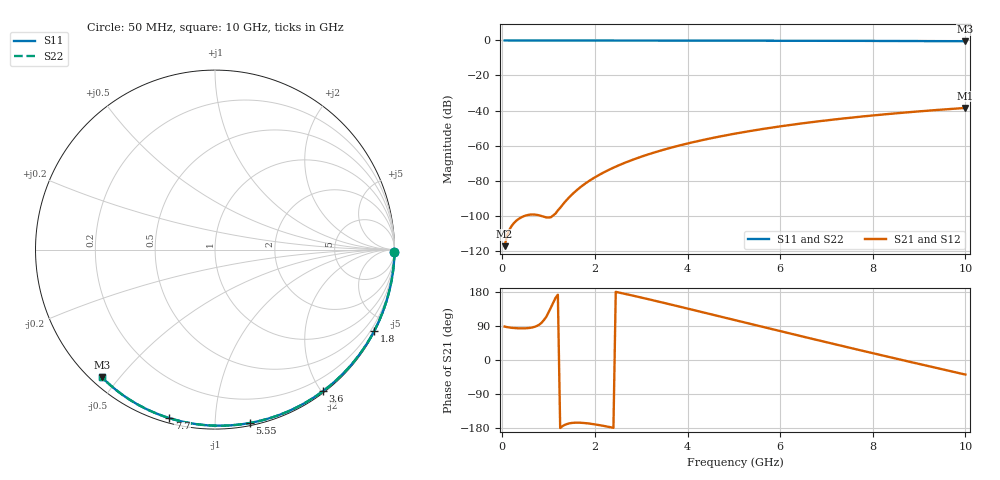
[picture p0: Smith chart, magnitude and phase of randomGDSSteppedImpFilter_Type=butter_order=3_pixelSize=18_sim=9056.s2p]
! freq	dB(S11)	phase(S11)	dB(S12)	phase(S12)
!  dB(S21)	phase(S21)	dB(S22)	phase(S22)
!S-par simulation data
#  GHz  S  DB  R 50
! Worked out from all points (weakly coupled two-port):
!   200 points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, 50 MHz to 10 GHz, reference 50 ohm
!   highest |S21| = -38.53 dB at 10 GHz (marker M1); lowest = -117.5 dB at 50 MHz (marker M2)
!   lowest |S11| = -0.4 dB at 10 GHz (marker M3), VSWR 39.23, Z = 1.53 - j22.5 ohm
!   |S11| at or under -10 dB: nowhere
!   |S22| runs from -0.4 to 0.0 dB; largest |S21 - S12| = 0
!   S11 on the Smith chart (normalised r, x): 50 MHz: open; 1.8 GHz: 0.04, -4.17; 3.6 GHz: 0.02, -2.02; 5.55 GHz: 0.02, -1.22; 7.7 GHz: 0.02, -0.77; 10 GHz: 0.03, -0.45
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0.05  -0.00 -0.8  -117.45 88.3  -117.45 88.3  -0.00 -0.8
0.45  -0.01 -6.8  -100.48 83.5  -100.48 83.5  -0.01 -6.8
0.9  -0.02 -13.6  -100.69 105.7  -100.69 105.7  -0.02 -13.6
1.75  -0.03 -26.2  -82.50 -166.1  -82.50 -166.1  -0.03 -26.2
1.8  -0.03 -26.9  -81.54 -166.6  -81.54 -166.6  -0.03 -26.9
1.9  -0.04 -28.4  -79.77 -168.1  -79.77 -168.1  -0.04 -28.4
2.05  -0.04 -30.6  -77.36 -170.9  -77.36 -170.9  -0.04 -30.6
2.25  -0.04 -33.5  -74.53 -175.3  -74.53 -175.3  -0.04 -33.5
2.45  -0.05 -36.4  -72.04 179.8  -72.04 179.8  -0.05 -36.4
2.65  -0.05 -39.3  -69.80 174.5  -69.80 174.5  -0.05 -39.3
3  -0.06 -44.3  -66.37 164.9  -66.37 164.9  -0.06 -44.3
3.4  -0.07 -49.9  -63.02 153.4  -63.02 153.4  -0.07 -49.9
3.6  -0.07 -52.7  -61.53 147.5  -61.53 147.5  -0.07 -52.7
4.3  -0.09 -62.3  -57.01 126.8  -57.01 126.8  -0.09 -62.3
5.05  -0.11 -72.2  -53.08 104.5  -53.08 104.5  -0.11 -72.2
5.55  -0.13 -78.7  -50.85 89.6  -50.85 89.6  -0.13 -78.7
6.1  -0.15 -85.7  -48.68 73.3  -48.68 73.3  -0.15 -85.7
6.7  -0.18 -93.1  -46.58 55.7  -46.58 55.7  -0.18 -93.1
7.7  -0.24 -105.1  -43.61 26.6  -43.61 26.6  -0.24 -105.1
8.35  -0.29 -112.7  -41.95 8.0  -41.95 8.0  -0.29 -112.7
9.15  -0.36 -121.9  -40.17 -14.7  -40.17 -14.7  -0.36 -121.9
10  -0.44 -131.6  -38.53 -38.4  -38.53 -38.4  -0.44 -131.6
